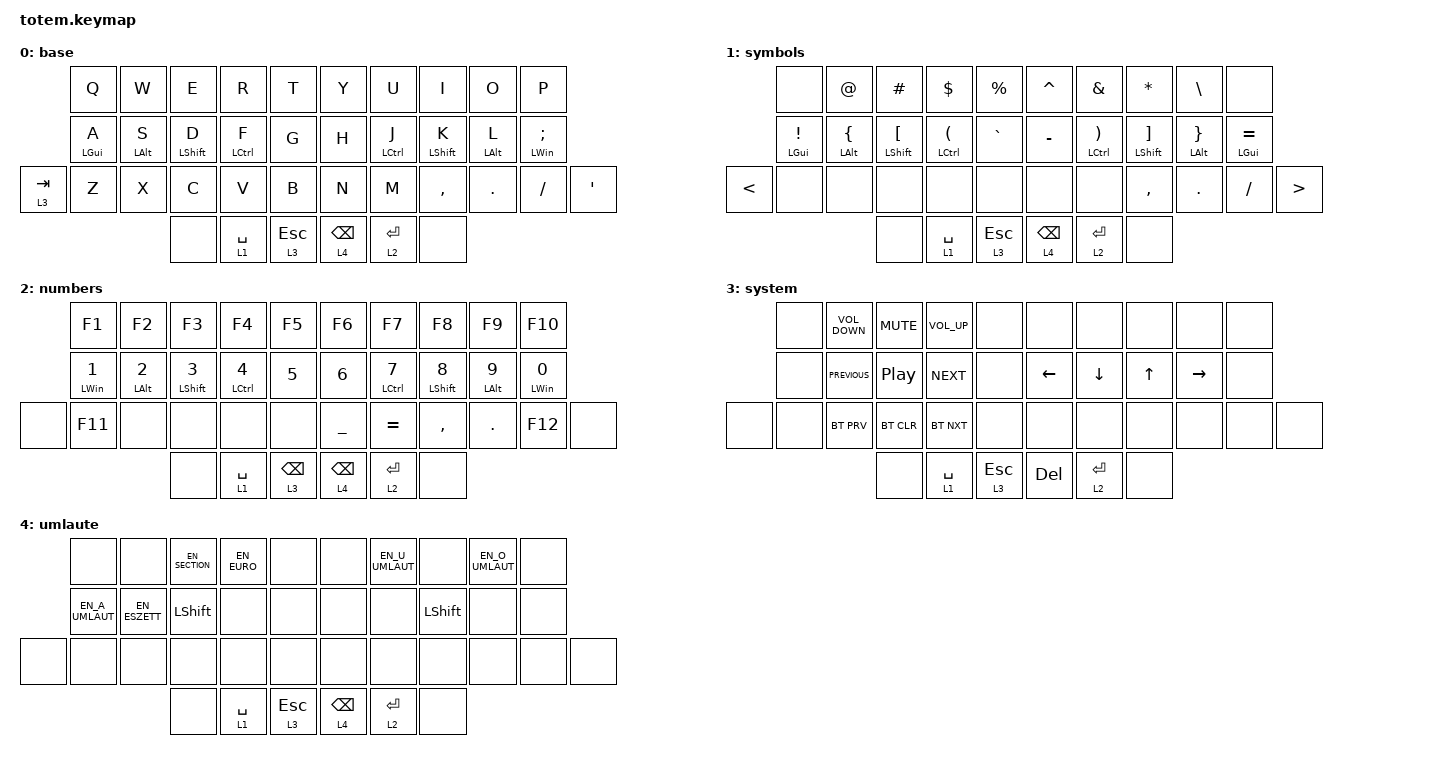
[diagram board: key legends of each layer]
//
//                                                        ▀▀▀▀▀     ▀▀▀▀▀          ▀▀█▀▀
//                                                        ▄▀▀▀▄  ▄  ▄▀▀▀▄  ▄  ▄▀▀▀▄  █  ▄▀▀▀▄
//                                                        █   █  █  █   █  █  █   █  █  █   █
//                                                         ▀▀▀   █   ▀▀▀   █   ▀▀▀   ▀   ▀▀▀
//                                                               █      ▄▄▄█▄▄▄    █   █  
//                                                               ▀      █  █  █     █▄█
//                                                             ▀▀▀▀▀    █  █  █      ▀
//                                                                      ▀  ▀  ▀
//
// ▄▄▄▄▄▄▄▄▄▄▄▄▄▄▄▄▄▄▄▄▄▄▄▄▄▄▄▄▄▄▄▄▄▄▄▄▄▄▄▄▄▄▄▄▄▄▄▄▄▄▄▄▄▄▄▄▄▄▄▄▄▄▄▄▄▄▄▄▄▄▄▄▄▄▄▄▄▄▄▄▄▄▄▄▄▄▄▄▄▄▄▄▄▄▄▄▄▄▄▄▄▄▄▄▄▄▄▄▄▄▄▄▄▄▄▄▄▄▄▄▄▄▄▄▄▄▄▄▄▄▄▄▄▄▄▄▄▄▄▄▄▄▄▄▄▄▄▄▄

#include "keys_us_international.h"
#include <behaviors.dtsi>
#include <dt-bindings/zmk/bt.h>
#include <dt-bindings/zmk/keys.h>

#define base        0
#define symbols     1
#define numbers     2
#define system      3
#define umlaute     4
#define KEYS_L 0 1 2 3 4 10 11 12 13 14 20 21 22 23 24 30 31 32

// Right hand keys (including right thumb keys)

#define KEYS_R 5 6 7 8 9 15 16 17 18 19 25 26 27 28 29 33 34 35

// All thumb keys

#define THUMBS 30 31 32 33 34 35

&mt {
    quick-tap-ms = <100>;
    global-quick-tap;
    flavor = "tap-preferred";
    tapping-term-ms = <170>;
};

&lt {
    tapping-term-ms = <240>;
    flavor = "balanced";
    quick-tap-ms = <150>;
};

/ {
    behaviors {
        hml: left_homerow_mods {
            compatible = "zmk,behavior-hold-tap";
            label = "LEFT_HOMEROW_MODS";
            #binding-cells = <2>;
            flavor = "balanced";
            tapping-term-ms = <280>;
            quick-tap-ms = <175>;
            require-prior-idle-ms = <150>;
            bindings = <&kp>, <&kp>;

            hold-trigger-key-positions = <KEYS_R THUMBS>;
            hold-trigger-on-release;
        };

        // Right-hand homerow mods

        hmr: right_homerow_mods {
            compatible = "zmk,behavior-hold-tap";
            label = "RIGHT_HOMEROW_MODS";
            #binding-cells = <2>;
            flavor = "balanced";
            tapping-term-ms = <280>;
            quick-tap-ms = <175>;
            require-prior-idle-ms = <150>;
            bindings = <&kp>, <&kp>;

            hold-trigger-key-positions = <KEYS_L THUMBS>;
            hold-trigger-on-release;
        };

        hm: homerow_mods {
            compatible = "zmk,behavior-hold-tap";
            label = "HOMEROW_MODS";
            #binding-cells = <2>;
            flavor = "balanced";
            tapping-term-ms = <200>;
            global-quick-tap;
            bindings = <&kp>, <&kp>;

            quick-tap-ms = <150>;
        };
    };

    combos {
        compatible = "zmk,combos";

        caps-word {
            bindings = <&caps_word>;
            key-positions = <17 12>;
        };
    };

    keymap {
        compatible = "zmk,keymap";

        base {
            display-name = "base";
            bindings = <
           &kp Q        &kp W        &kp E              &kp R                &kp T           &kp Y            &kp U                &kp I              &kp O            &kp P
           &hml LGUI A  &hml LALT S  &hml LEFT_SHIFT D  &hml LEFT_CONTROL F  &kp G           &kp H            &hmr LEFT_CONTROL J  &hmr LEFT_SHIFT K  &hmr LEFT_ALT L  &hmr LEFT_WIN SEMICOLON
&lt 3 TAB  &kp Z        &kp X        &kp C              &kp V                &kp B           &kp N            &kp M                &kp COMMA          &kp DOT          &kp SLASH                &kp APOSTROPHE
                                     &none              &lt 1 SPACE          &lt 3 ESCAPE    &lt 4 BACKSPACE  &lt 2 ENTER          &none
            >;
        };

        symbols {
            display-name = "symbols";
            bindings = <
               &none                  &kp AT_SIGN               &kp HASH                      &kp DOLLAR                          &kp PERCENT     &kp CARET        &kp AMPERSAND                        &kp ASTERISK                   &kp BACKSLASH              &none
               &hml LGUI EXCLAMATION  &hml LEFT_ALT LEFT_BRACE  &hml LEFT_SHIFT LEFT_BRACKET  &hml LEFT_CONTROL LEFT_PARENTHESIS  &kp GRAVE       &kp MINUS        &hmr LEFT_CONTROL RIGHT_PARENTHESIS  &hmr LEFT_SHIFT RIGHT_BRACKET  &hmr LEFT_ALT RIGHT_BRACE  &hmr LGUI EQUAL
&kp LESS_THAN  &none                  &none                     &none                         &none                               &none           &none            &none                                &kp COMMA                      &kp PERIOD                 &kp SLASH        &kp GREATER_THAN
                                                                &none                         &lt 1 SPACE                         &lt 3 ESCAPE    &lt 4 BACKSPACE  &lt 2 ENTER                          &none
            >;
        };

        numbers {
            display-name = "numbers";
            bindings = <
       &kp F1                  &kp F2                  &kp F3                    &kp F4                      &kp F5             &kp F6           &kp F7                      &kp F8              &kp F9                  &kp F10
       &hml LEFT_WIN NUMBER_1  &hml LEFT_ALT NUMBER_2  &hml LEFT_SHIFT NUMBER_3  &hml LEFT_CONTROL NUMBER_4  &kp NUMBER_5       &kp NUMBER_6     &hmr LEFT_CONTROL NUMBER_7  &hmr LEFT_SHIFT N8  &hmr LEFT_ALT NUMBER_9  &hmr LEFT_WIN NUMBER_0
&none  &kp F11                 &none                   &none                     &none                       &none              &kp UNDER        &kp EQUAL                   &kp COMMA           &kp PERIOD              &kp F12                 &none
                                                       &none                     &lt 1 SPACE                 &lt 3 BACKSPACE    &lt 4 BACKSPACE  &lt 2 ENTER                 &none
            >;
        };

        system {
            display-name = "system";
            bindings = <
       &none  &kp C_VOLUME_DOWN  &kp C_MUTE        &kp C_VOLUME_UP  &none           &none           &none           &none         &none            &none
       &none  &kp C_PREVIOUS     &kp C_PLAY_PAUSE  &kp C_NEXT       &none           &kp LEFT_ARROW  &kp DOWN_ARROW  &kp UP_ARROW  &kp RIGHT_ARROW  &none
&none  &none  &bt BT_PRV         &bt BT_CLR        &bt BT_NXT       &none           &none           &none           &none         &none            &none  &none
                                 &none             &lt 1 SPACE      &lt 3 ESCAPE    &kp DELETE      &lt 2 ENTER     &none
            >;
        };

        umlaute {
            bindings = <
       &none            &none          &kp EN_SECTION  &kp EN_EURO  &none           &none            &kp EN_U_UMLAUT  &none           &kp EN_O_UMLAUT  &none
       &kp EN_A_UMLAUT  &kp EN_ESZETT  &kp LEFT_SHIFT  &none        &none           &none            &none            &kp LEFT_SHIFT  &none            &none
&none  &none            &none          &none           &none        &none           &none            &none            &none           &none            &none  &none
                                       &none           &lt 1 SPACE  &lt 3 ESCAPE    &lt 4 BACKSPACE  &lt 2 ENTER      &none
            >;
        };
    };
};
